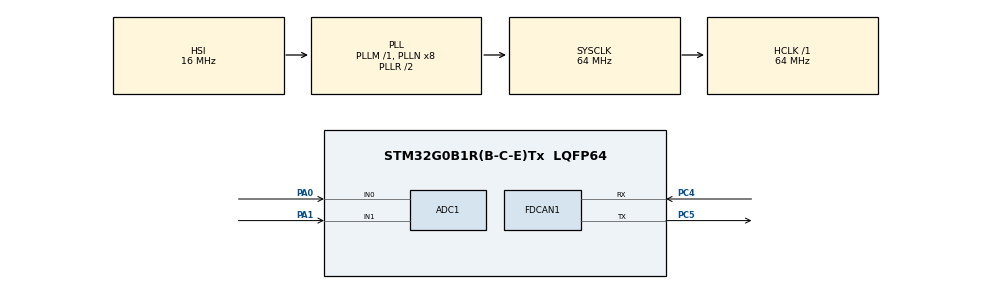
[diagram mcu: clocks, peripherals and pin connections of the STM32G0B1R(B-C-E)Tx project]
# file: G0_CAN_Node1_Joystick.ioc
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ADC1.Channel-0\#ChannelRegularConversion=ADC_CHANNEL_0
ADC1.Channel-1\#ChannelRegularConversion=ADC_CHANNEL_1
ADC1.ContinuousConvMode=ENABLE
ADC1.DMAContinuousRequests=ENABLE
ADC1.DiscontinuousConvMode=DISABLE
ADC1.EOCSelection=ADC_EOC_SEQ_CONV
ADC1.NbrOfConversion=2
ADC1.NbrOfConversionFlag=1
ADC1.Rank-0\#ChannelRegularConversion=1
ADC1.Rank-1\#ChannelRegularConversion=2
ADC1.SamplingTime-0\#ChannelRegularConversion=ADC_SAMPLINGTIME_COMMON_1
ADC1.SamplingTime-1\#ChannelRegularConversion=ADC_SAMPLINGTIME_COMMON_2
ADC1.SamplingTimeCommon1=ADC_SAMPLETIME_160CYCLES_5
ADC1.SamplingTimeCommon2=ADC_SAMPLETIME_160CYCLES_5
ADC1.SelectedChannel=ADC_CHANNEL_0|ADC_CHANNEL_1
ADC1.master=1
Dma.ADC1.0.Direction=DMA_PERIPH_TO_MEMORY
Dma.ADC1.0.EventEnable=DISABLE
Dma.ADC1.0.Instance=DMA1_Channel1
Dma.ADC1.0.MemDataAlignment=DMA_MDATAALIGN_HALFWORD
Dma.ADC1.0.MemInc=DMA_MINC_ENABLE
Dma.ADC1.0.Mode=DMA_CIRCULAR
Dma.ADC1.0.PeriphDataAlignment=DMA_PDATAALIGN_HALFWORD
Dma.ADC1.0.PeriphInc=DMA_PINC_DISABLE
Dma.ADC1.0.Polarity=HAL_DMAMUX_REQ_GEN_RISING
Dma.ADC1.0.Priority=DMA_PRIORITY_LOW
Dma.ADC1.0.RequestNumber=1
Dma.ADC1.0.SignalID=NONE
Dma.ADC1.0.SyncEnable=DISABLE
Dma.ADC1.0.SyncPolarity=HAL_DMAMUX_SYNC_NO_EVENT
Dma.ADC1.0.SyncRequestNumber=1
Dma.ADC1.0.SyncSignalID=NONE
Dma.Request0=ADC1
FDCAN1.AutoRetransmission=ENABLE
FDCAN1.CalculateBaudRateNominal=500000
FDCAN1.CalculateTimeBitNominal=2000
FDCAN1.CalculateTimeQuantumNominal=125.0
FDCAN1.NominalPrescaler=8
FDCAN1.NominalTimeSeg1=13
FDCAN1.NominalTimeSeg2=2
Mcu.Family=STM32G0
Mcu.Name=STM32G0B1R(B-C-E)Tx
Mcu.Package=LQFP64
NVIC.ADC1_COMP_IRQn=true\:0\:0\:false\:false\:true\:true\:true\:true
NVIC.DMA1_Channel1_IRQn=true\:0\:0\:false\:false\:true\:false\:true\:true
NVIC.TIM16_FDCAN_IT0_IRQn=true\:0\:0\:false\:false\:true\:true\:true\:true
PA0.Mode=IN0
PA0.Signal=ADC1_IN0
PA1.Mode=IN1
PA1.Signal=ADC1_IN1
PA13.Mode=Serial_Wire
PA13.Signal=SYS_SWDIO
PA14-BOOT0.Mode=Serial_Wire
PA14-BOOT0.Signal=SYS_SWCLK
PC4.Mode=FDCAN_Activate
PC4.Signal=FDCAN1_RX
PC5.Mode=FDCAN_Activate
PC5.Signal=FDCAN1_TX
PF0-OSC_IN\ (PF0).Mode=HSE-External-Oscillator
PF0-OSC_IN\ (PF0).Signal=RCC_OSC_IN
PF1-OSC_OUT\ (PF1).Mode=HSE-External-Oscillator
PF1-OSC_OUT\ (PF1).Signal=RCC_OSC_OUT
ProjectManager.HeapSize=0x200
ProjectManager.StackSize=0x400
ProjectManager.TargetToolchain=STM32CubeIDE
RCC.ADCFreq_Value=64000000
RCC.AHBFreq_Value=64000000
RCC.CortexFreq_Value=64000000
RCC.EXTERNAL_CLOCK_VALUE=48000
RCC.HCLKFreq_Value=64000000
RCC.HSE_VALUE=8000000
RCC.HSI48_VALUE=48000000
RCC.HSI_VALUE=16000000
RCC.LSE_VALUE=32768
RCC.SYSCLKFreq_VALUE=64000000
RCC.SYSCLKSource=RCC_SYSCLKSOURCE_PLLCLK
RCC.USBFreq_Value=48000000
RCC.VCOOutputFreq_Value=128000000
VP_SYS_VS_DBSignals.Mode=DisableDeadBatterySignals
board=custom

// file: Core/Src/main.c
/* USER CODE BEGIN Header */
/**
  ******************************************************************************
  * @file           : main.c
  * @brief          : Main program body
  ******************************************************************************
  * @attention
  *
  * Copyright (c) 2026 STMicroelectronics.
  * All rights reserved.
  *
  * This software is licensed under terms that can be found in the LICENSE file
  * in the root directory of this software component.
  * If no LICENSE file comes with this software, it is provided AS-IS.
  *
  ******************************************************************************
  */
/* USER CODE END Header */
#include "main.h"

/* USER CODE BEGIN Includes */
#include<stdio.h>
#include<string.h>
/* USER CODE END Includes */

ADC_HandleTypeDef hadc1;
DMA_HandleTypeDef hdma_adc1;

FDCAN_HandleTypeDef hfdcan1;

/* USER CODE BEGIN PV */
FDCAN_TxHeaderTypeDef TxHeader;

volatile uint16_t adc_buf[2];
uint8_t txdata[2];
/* USER CODE END PV */

void SystemClock_Config(void);
static void MX_GPIO_Init(void);
static void MX_DMA_Init(void);
static void MX_ADC1_Init(void);
static void MX_FDCAN1_Init(void);

int main(void)
{

  /* MCU Configuration--------------------------------------------------------*/

  /* Reset of all peripherals, Initializes the Flash interface and the Systick. */
  HAL_Init();

  /* Configure the system clock */
  SystemClock_Config();

  /* Initialize all configured peripherals */
  MX_GPIO_Init();
  MX_DMA_Init();
  MX_ADC1_Init();
  MX_FDCAN1_Init();
  /* USER CODE BEGIN 2 */
HAL_FDCAN_Start(&hfdcan1);
HAL_ADC_Start_DMA(&hadc1, (uint32_t *)adc_buf, 2);
TxHeader.Identifier = 0x234;
TxHeader.FDFormat = FDCAN_CLASSIC_CAN;
TxHeader.IdType = FDCAN_STANDARD_ID;
TxHeader.TxFrameType = FDCAN_DATA_FRAME;
TxHeader.DataLength = FDCAN_DLC_BYTES_2;
TxHeader.ErrorStateIndicator = FDCAN_ESI_ACTIVE;
TxHeader.BitRateSwitch = FDCAN_BRS_OFF;
TxHeader.TxEventFifoControl = FDCAN_NO_TX_EVENTS;
TxHeader.MessageMarker = 0;

  /* USER CODE END 2 */

  /* Infinite loop */
  while (1)
  {

    /* USER CODE BEGIN 3 */

	uint16_t vrx = adc_buf[0];

	txdata[0] = vrx >>8;
	txdata[1] = vrx & 0xFF;

	HAL_FDCAN_AddMessageToTxFifoQ(&hfdcan1, &TxHeader, txdata);
	HAL_Delay(20);
  }
  /* USER CODE END 3 */
}

void SystemClock_Config(void)
{
  RCC_OscInitTypeDef RCC_OscInitStruct = {0};
  RCC_ClkInitTypeDef RCC_ClkInitStruct = {0};

  /** Configure the main internal regulator output voltage
  */
  HAL_PWREx_ControlVoltageScaling(PWR_REGULATOR_VOLTAGE_SCALE1);

  /** Initializes the RCC Oscillators according to the specified parameters
  * in the RCC_OscInitTypeDef structure.
  */
  RCC_OscInitStruct.OscillatorType = RCC_OSCILLATORTYPE_HSI;
  RCC_OscInitStruct.HSIState = RCC_HSI_ON;
  RCC_OscInitStruct.HSIDiv = RCC_HSI_DIV1;
  RCC_OscInitStruct.HSICalibrationValue = RCC_HSICALIBRATION_DEFAULT;
  RCC_OscInitStruct.PLL.PLLState = RCC_PLL_ON;
  RCC_OscInitStruct.PLL.PLLSource = RCC_PLLSOURCE_HSI;
  RCC_OscInitStruct.PLL.PLLM = RCC_PLLM_DIV1;
  RCC_OscInitStruct.PLL.PLLN = 8;
  RCC_OscInitStruct.PLL.PLLP = RCC_PLLP_DIV2;
  RCC_OscInitStruct.PLL.PLLQ = RCC_PLLQ_DIV2;
  RCC_OscInitStruct.PLL.PLLR = RCC_PLLR_DIV2;
  if (HAL_RCC_OscConfig(&RCC_OscInitStruct) != HAL_OK)
  {
    Error_Handler();
  }

  /** Initializes the CPU, AHB and APB buses clocks
  */
  RCC_ClkInitStruct.ClockType = RCC_CLOCKTYPE_HCLK|RCC_CLOCKTYPE_SYSCLK
                              |RCC_CLOCKTYPE_PCLK1;
  RCC_ClkInitStruct.SYSCLKSource = RCC_SYSCLKSOURCE_PLLCLK;
  RCC_ClkInitStruct.AHBCLKDivider = RCC_SYSCLK_DIV1;
  RCC_ClkInitStruct.APB1CLKDivider = RCC_HCLK_DIV1;

  if (HAL_RCC_ClockConfig(&RCC_ClkInitStruct, FLASH_LATENCY_2) != HAL_OK)
  {
    Error_Handler();
  }
}

static void MX_ADC1_Init(void)
{

  ADC_ChannelConfTypeDef sConfig = {0};

  /** Configure the global features of the ADC (Clock, Resolution, Data Alignment and number of conversion)
  */
  hadc1.Instance = ADC1;
  hadc1.Init.ClockPrescaler = ADC_CLOCK_SYNC_PCLK_DIV2;
  hadc1.Init.Resolution = ADC_RESOLUTION_12B;
  hadc1.Init.DataAlign = ADC_DATAALIGN_RIGHT;
  hadc1.Init.ScanConvMode = ADC_SCAN_ENABLE;
  hadc1.Init.EOCSelection = ADC_EOC_SEQ_CONV;
  hadc1.Init.LowPowerAutoWait = DISABLE;
  hadc1.Init.LowPowerAutoPowerOff = DISABLE;
  hadc1.Init.ContinuousConvMode = ENABLE;
  hadc1.Init.NbrOfConversion = 2;
  hadc1.Init.DiscontinuousConvMode = DISABLE;
  hadc1.Init.ExternalTrigConv = ADC_SOFTWARE_START;
  hadc1.Init.ExternalTrigConvEdge = ADC_EXTERNALTRIGCONVEDGE_NONE;
  hadc1.Init.DMAContinuousRequests = ENABLE;
  hadc1.Init.Overrun = ADC_OVR_DATA_PRESERVED;
  hadc1.Init.SamplingTimeCommon1 = ADC_SAMPLETIME_160CYCLES_5;
  hadc1.Init.SamplingTimeCommon2 = ADC_SAMPLETIME_160CYCLES_5;
  hadc1.Init.OversamplingMode = DISABLE;
  hadc1.Init.TriggerFrequencyMode = ADC_TRIGGER_FREQ_HIGH;
  if (HAL_ADC_Init(&hadc1) != HAL_OK)
  {
    Error_Handler();
  }

  /** Configure Regular Channel
  */
  sConfig.Channel = ADC_CHANNEL_0;
  sConfig.Rank = ADC_REGULAR_RANK_1;
  sConfig.SamplingTime = ADC_SAMPLINGTIME_COMMON_1;
  if (HAL_ADC_ConfigChannel(&hadc1, &sConfig) != HAL_OK)
  {
    Error_Handler();
  }

  /** Configure Regular Channel
  */
  sConfig.Channel = ADC_CHANNEL_1;
  sConfig.Rank = ADC_REGULAR_RANK_2;
  sConfig.SamplingTime = ADC_SAMPLINGTIME_COMMON_2;
  if (HAL_ADC_ConfigChannel(&hadc1, &sConfig) != HAL_OK)
  {
    Error_Handler();
  }

}

static void MX_FDCAN1_Init(void)
{

  hfdcan1.Instance = FDCAN1;
  hfdcan1.Init.ClockDivider = FDCAN_CLOCK_DIV1;
  hfdcan1.Init.FrameFormat = FDCAN_FRAME_CLASSIC;
  hfdcan1.Init.Mode = FDCAN_MODE_NORMAL;
  hfdcan1.Init.AutoRetransmission = ENABLE;
  hfdcan1.Init.TransmitPause = DISABLE;
  hfdcan1.Init.ProtocolException = DISABLE;
  hfdcan1.Init.NominalPrescaler = 8;
  hfdcan1.Init.NominalSyncJumpWidth = 1;
  hfdcan1.Init.NominalTimeSeg1 = 13;
  hfdcan1.Init.NominalTimeSeg2 = 2;
  hfdcan1.Init.DataPrescaler = 1;
  hfdcan1.Init.DataSyncJumpWidth = 1;
  hfdcan1.Init.DataTimeSeg1 = 1;
  hfdcan1.Init.DataTimeSeg2 = 1;
  hfdcan1.Init.StdFiltersNbr = 0;
  hfdcan1.Init.ExtFiltersNbr = 0;
  hfdcan1.Init.TxFifoQueueMode = FDCAN_TX_FIFO_OPERATION;
  if (HAL_FDCAN_Init(&hfdcan1) != HAL_OK)
  {
    Error_Handler();
  }

}

static void MX_DMA_Init(void)
{

  /* DMA controller clock enable */
  __HAL_RCC_DMA1_CLK_ENABLE();

  /* DMA interrupt init */
  /* DMA1_Channel1_IRQn interrupt configuration */
  HAL_NVIC_SetPriority(DMA1_Channel1_IRQn, 0, 0);
  HAL_NVIC_EnableIRQ(DMA1_Channel1_IRQn);

}

static void MX_GPIO_Init(void)
{

  /* GPIO Ports Clock Enable */
  __HAL_RCC_GPIOF_CLK_ENABLE();
  __HAL_RCC_GPIOA_CLK_ENABLE();
  __HAL_RCC_GPIOC_CLK_ENABLE();

}

void Error_Handler(void)
{
  __disable_irq();
  while (1)
  {
  }
}
